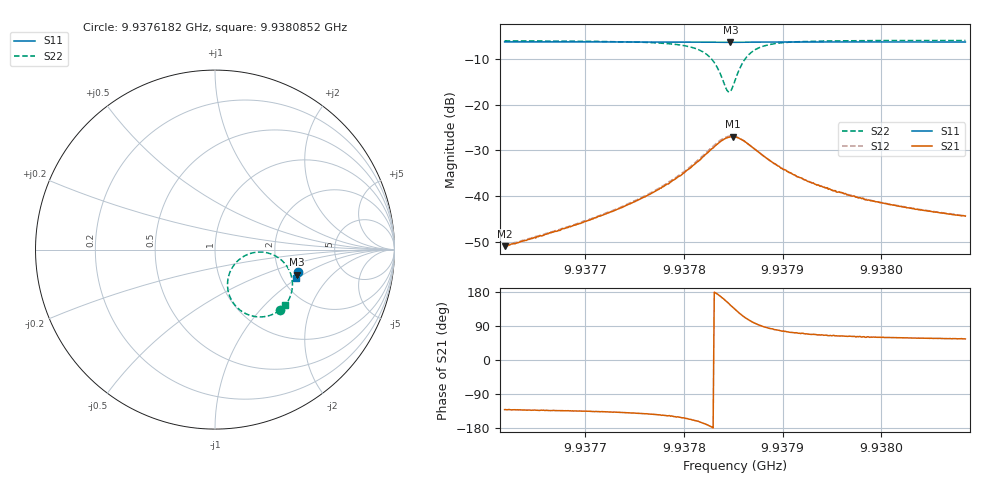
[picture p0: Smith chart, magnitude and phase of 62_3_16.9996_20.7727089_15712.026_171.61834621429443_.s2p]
#  HZ  S  RI  R  50.00
! Rohde & Schwarz Vector Network Analyzer
! Rohde-Schwarz,ZNB20-2Port,1311601062101988,3.16
! Created: UTC 3/20/2024, 10:54:51 PM
! freq[Hz]  re:S11  im:S11  re:S21  im:S21  re:S12  im:S12  re:S22  im:S22
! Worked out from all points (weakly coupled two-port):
!   401 points, 9.9376182 GHz to 9.9380852 GHz, reference 50 ohm
!   highest |S21| = -27.02 dB at 9.9378494 GHz (marker M1); lowest = -50.9 dB at 9.9376182 GHz (marker M2)
!   lowest |S11| = -6.5 dB at 9.937847 GHz (marker M3), VSWR 2.82, Z = 122 - j44.1 ohm
!   |S11| at or under -10 dB: nowhere
!   |S22| runs from -17.3 to -6.0 dB; largest |S21 - S12| = 0.0027
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9.9376182e9  0.465 -0.127  -0.00187 -0.00216  -0.00192 -0.00218  0.3624 -0.3367
9.93769642e9  0.463 -0.1324  -0.00362 -0.00365  -0.00375 -0.00367  0.3423 -0.3502
9.93773611e9  0.4617 -0.135  -0.00558 -0.00499  -0.00579 -0.00497  0.3228 -0.3602
9.93777464e9  0.4606 -0.138  -0.00972 -0.00687  -0.0101 -0.00689  0.2844 -0.372
9.93780383e9  0.4589 -0.1402  -0.0176 -0.00815  -0.0183 -0.00805  0.2168 -0.3719
9.93782134e9  0.4573 -0.1413  -0.0277 -0.00554  -0.0289 -0.00485  0.1373 -0.3355
9.93782951e9  0.4561 -0.1413  -0.0336 -0.000497  -0.0352 0.000752  0.0932 -0.2835
9.93783652e9  0.4552 -0.1411  -0.0384 0.00757  -0.0395 0.00971  0.0702 -0.2079
9.93784352e9  0.4548 -0.1401  -0.0389 0.0193  -0.0387 0.022  0.0896 -0.1119
9.93784702e9  0.4548 -0.1396  -0.0363 0.0256  -0.0357 0.028  0.1208 -0.0683
9.93784936e9  0.4551 -0.1392  -0.0338 0.029  -0.0329 0.0314  0.1491 -0.0449
9.93785169e9  0.4553 -0.1389  -0.0306 0.0319  -0.0293 0.0342  0.1798 -0.0279
9.93785636e9  0.456 -0.1386  -0.0232 0.0357  -0.0215 0.0372  0.2447 -0.0136
9.93786103e9  0.4568 -0.1386  -0.016 0.0367  -0.0143 0.0373  0.3025 -0.0211
9.93786687e9  0.4576 -0.139  -0.00846 0.0349  -0.00694 0.035  0.3563 -0.0475
9.93787388e9  0.458 -0.1398  -0.00242 0.0312  -0.00124 0.0311  0.3958 -0.0863
9.93788438e9  0.4586 -0.1409  0.00211 0.0256  0.00289 0.0254  0.4225 -0.1377
9.93789956e9  0.4586 -0.1428  0.00481 0.0195  0.0052 0.0193  0.4317 -0.1888
9.93792991e9  0.458 -0.1452  0.00531 0.0129  0.00564 0.0128  0.4253 -0.2424
9.93796727e9  0.4572 -0.1482  0.00468 0.00913  0.00502 0.00906  0.414 -0.2731
9.93800813e9  0.4561 -0.1511  0.00416 0.00698  0.00432 0.00699  0.4043 -0.2909
9.93808519e9  0.454 -0.1562  0.00343 0.00501  0.00352 0.00504  0.392 -0.3089
